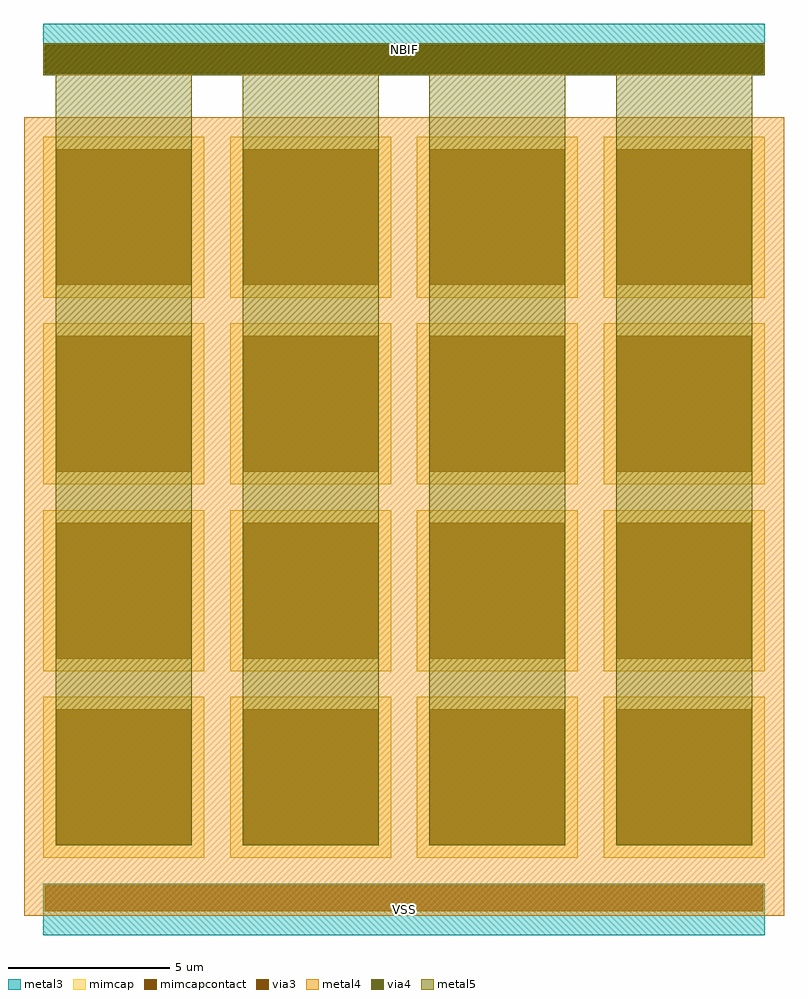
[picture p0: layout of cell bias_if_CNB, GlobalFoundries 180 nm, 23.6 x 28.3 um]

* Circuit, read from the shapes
.subckt bias_if_CNB NBIF VSS
XC1 NBIF VSS cap_mim_2f0fF c_width=5u c_length=5u m=16
.ends

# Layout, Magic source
magic
tech gf180mcuD
magscale 1 10
<< metal3 >>
rect 0 4860 4480 5060
rect 0 4860 4480 5180
rect 0 4860 4480 5180
rect 0 -340 4480 -160
rect 0 -480 4480 -160
rect 0 -480 4480 -160
<< metal4 >>
rect -120 -360 4600 4600
rect 0 4860 4480 5060
rect 0 4860 4480 5060
rect 0 -340 4480 -160
<< mimcap >>
rect 0 0 1000 1000
rect 1160 0 2160 1000
rect 2320 0 3320 1000
rect 3480 0 4480 1000
rect 0 1160 1000 2160
rect 1160 1160 2160 2160
rect 2320 1160 3320 2160
rect 3480 1160 4480 2160
rect 0 2320 1000 3320
rect 1160 2320 2160 3320
rect 2320 2320 3320 3320
rect 3480 2320 4480 3320
rect 0 3480 1000 4480
rect 1160 3480 2160 4480
rect 2320 3480 3320 4480
rect 3480 3480 4480 4480
<< metal5 >>
rect 78 78 922 4960
rect 1238 78 2082 4960
rect 2398 78 3242 4960
rect 3558 78 4402 4960
rect 0 4860 4480 5060
rect 0 4860 4480 5060
<< via3 >>
rect 10 4870 4470 5050
rect 10 -330 4470 -170
<< via4 >>
rect 10 4870 4470 5050
<< mimcapcontact >>
rect 78 78 922 922
rect 1238 78 2082 922
rect 2398 78 3242 922
rect 3558 78 4402 922
rect 78 1238 922 2082
rect 1238 1238 2082 2082
rect 2398 1238 3242 2082
rect 3558 1238 4402 2082
rect 78 2398 922 3242
rect 1238 2398 2082 3242
rect 2398 2398 3242 3242
rect 3558 2398 4402 3242
rect 78 3558 922 4402
rect 1238 3558 2082 4402
rect 2398 3558 3242 4402
rect 3558 3558 4402 4402
<< labels >>
flabel metal3 s 0 4860 4480 5180 0 FreeSans 80 0 0 0 NBIF
port 1 nsew signal bidirectional
flabel metal3 s 0 -480 4480 -160 0 FreeSans 80 0 0 0 VSS
port 2 nsew signal bidirectional
<< end >>
